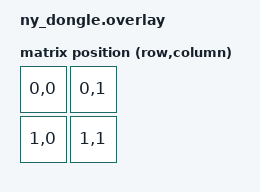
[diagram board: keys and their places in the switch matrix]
#include <dt-bindings/zmk/matrix_transform.h>

/ {
    chosen {
        zmk,kscan = &mock_kscan;
        zmk,matrix_transform = &default_transform;
    };

    mock_kscan: mock_kscan_0 {
        compatible = "zmk,kscan-mock";
        columns = <2>;
        rows = <2>;
        events = <0>;
    };

        default_transform: keymap_transform_0 {
        compatible = "zmk,matrix-transform";
        columns = <2>;
        rows = <2>;

        map = <
            RC(0,0), RC(0,1)
            RC(1,0), RC(1,1)
        >;
    };
};
